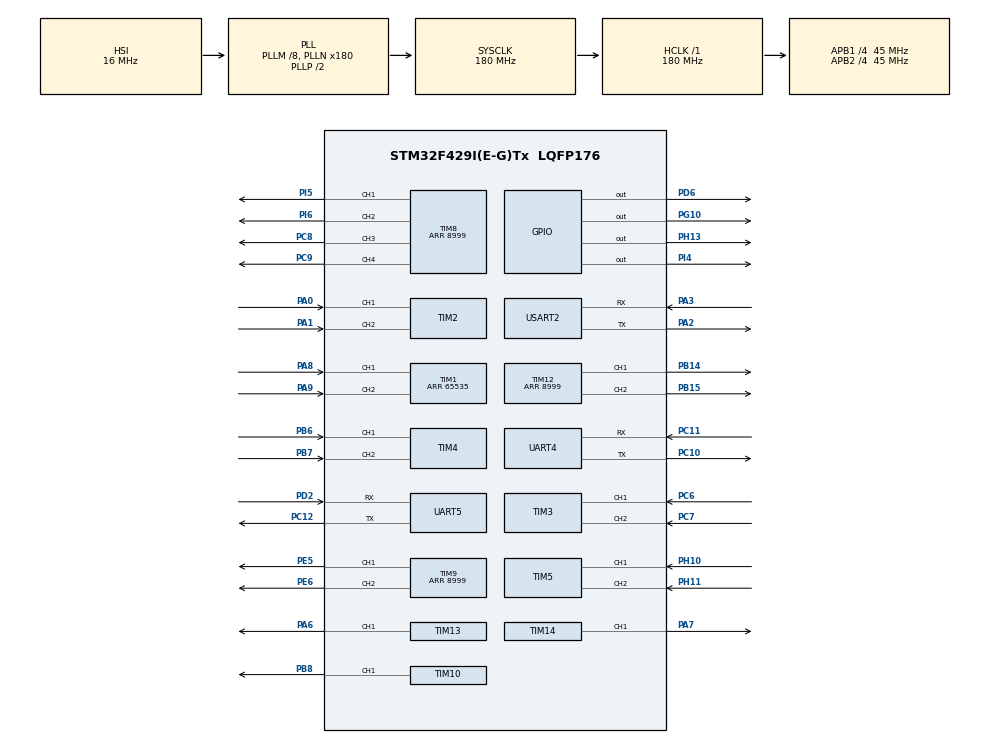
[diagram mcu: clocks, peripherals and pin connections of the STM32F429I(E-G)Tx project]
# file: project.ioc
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Mcu.Family=STM32F4
Mcu.Name=STM32F429I(E-G)Tx
Mcu.Package=LQFP176
NVIC.PriorityGroup=NVIC_PRIORITYGROUP_4
NVIC.UART4_IRQn=true\:0\:0\:false\:false\:true\:true\:true\:true
PA0/WKUP.Signal=S_TIM2_CH1_ETR
PA1.Signal=S_TIM2_CH2
PA13.Mode=Serial_Wire
PA13.Signal=SYS_JTMS-SWDIO
PA14.Mode=Serial_Wire
PA14.Signal=SYS_JTCK-SWCLK
PA2.Mode=Asynchronous
PA2.Signal=USART2_TX
PA3.Mode=Asynchronous
PA3.Signal=USART2_RX
PA6.Signal=S_TIM13_CH1
PA7.Signal=S_TIM14_CH1
PA8.Signal=S_TIM1_CH1
PA9.Signal=S_TIM1_CH2
PB14.Signal=S_TIM12_CH1
PB15.Signal=S_TIM12_CH2
PB6.Signal=S_TIM4_CH1
PB7.Signal=S_TIM4_CH2
PB8.Signal=S_TIM10_CH1
PC10.Mode=Asynchronous
PC10.Signal=UART4_TX
PC11.Mode=Asynchronous
PC11.Signal=UART4_RX
PC12.Mode=Asynchronous
PC12.Signal=UART5_TX
PC14/OSC32_IN.Mode=LSE-External-Oscillator
PC14/OSC32_IN.Signal=RCC_OSC32_IN
PC15/OSC32_OUT.Mode=LSE-External-Oscillator
PC15/OSC32_OUT.Signal=RCC_OSC32_OUT
PC6.Signal=S_TIM3_CH1
PC7.Signal=S_TIM3_CH2
PC8.Signal=S_TIM8_CH3
PC9.Signal=S_TIM8_CH4
PD2.Mode=Asynchronous
PD2.Signal=UART5_RX
PD6.GPIO_Speed=GPIO_SPEED_FREQ_VERY_HIGH
PD6.Signal=GPIO_Output
PE5.Signal=S_TIM9_CH1
PE6.Signal=S_TIM9_CH2
PG10.GPIO_Speed=GPIO_SPEED_FREQ_VERY_HIGH
PG10.PinState=GPIO_PIN_RESET
PG10.Signal=GPIO_Output
PH0/OSC_IN.Mode=HSE-External-Oscillator
PH0/OSC_IN.Signal=RCC_OSC_IN
PH1/OSC_OUT.Mode=HSE-External-Oscillator
PH1/OSC_OUT.Signal=RCC_OSC_OUT
PH10.Signal=S_TIM5_CH1
PH11.Signal=S_TIM5_CH2
PH13.GPIO_Speed=GPIO_SPEED_FREQ_VERY_HIGH
PH13.PinState=GPIO_PIN_RESET
PH13.Signal=GPIO_Output
PI4.GPIO_Speed=GPIO_SPEED_FREQ_VERY_HIGH
PI4.Signal=GPIO_Output
PI5.Signal=S_TIM8_CH1
PI6.Signal=S_TIM8_CH2
ProjectManager.HeapSize=0x200
ProjectManager.StackSize=0x400
ProjectManager.TargetToolchain=MDK-ARM V5
RCC.48MHZClocksFreq_Value=90000000
RCC.AHBFreq_Value=180000000
RCC.APB1CLKDivider=RCC_HCLK_DIV4
RCC.APB1Freq_Value=45000000
RCC.APB1TimFreq_Value=90000000
RCC.APB2CLKDivider=RCC_HCLK_DIV4
RCC.APB2Freq_Value=45000000
RCC.APB2TimFreq_Value=90000000
RCC.CortexFreq_Value=180000000
RCC.HCLKFreq_Value=180000000
RCC.HSE_VALUE=25000000
RCC.HSI_VALUE=16000000
RCC.PLLM=8
RCC.PLLN=180
RCC.SYSCLKFreq_VALUE=180000000
RCC.SYSCLKSource=RCC_SYSCLKSOURCE_PLLCLK
RCC.VCOOutputFreq_Value=360000000
SH.S_TIM10_CH1.0=TIM10_CH1,PWM Generation1 CH1
SH.S_TIM12_CH1.0=TIM12_CH1,PWM Generation1 CH1
SH.S_TIM12_CH2.0=TIM12_CH2,PWM Generation2 CH2
SH.S_TIM13_CH1.0=TIM13_CH1,PWM Generation1 CH1
SH.S_TIM14_CH1.0=TIM14_CH1,PWM Generation1 CH1
SH.S_TIM1_CH1.0=TIM1_CH1,Encoder_Interface
SH.S_TIM1_CH2.0=TIM1_CH2,Encoder_Interface
SH.S_TIM2_CH1_ETR.0=TIM2_CH1,Encoder_Interface
SH.S_TIM2_CH2.0=TIM2_CH2,Encoder_Interface
SH.S_TIM3_CH1.0=TIM3_CH1,Encoder_Interface
SH.S_TIM3_CH2.0=TIM3_CH2,Encoder_Interface
SH.S_TIM4_CH1.0=TIM4_CH1,Encoder_Interface
SH.S_TIM4_CH2.0=TIM4_CH2,Encoder_Interface
SH.S_TIM5_CH1.0=TIM5_CH1,Encoder_Interface
SH.S_TIM5_CH2.0=TIM5_CH2,Encoder_Interface
SH.S_TIM8_CH1.0=TIM8_CH1,PWM Generation1 CH1
SH.S_TIM8_CH2.0=TIM8_CH2,PWM Generation2 CH2
SH.S_TIM8_CH3.0=TIM8_CH3,PWM Generation3 CH3
SH.S_TIM8_CH4.0=TIM8_CH4,PWM Generation4 CH4
SH.S_TIM9_CH1.0=TIM9_CH1,PWM Generation1 CH1
SH.S_TIM9_CH2.0=TIM9_CH2,PWM Generation2 CH2
TIM1.Period=65535
TIM10.Channel=TIM_CHANNEL_1
TIM10.Period=19999
TIM10.Prescaler=89
TIM12.Channel-PWM\ Generation1\ CH1=TIM_CHANNEL_1
TIM12.Channel-PWM\ Generation2\ CH2=TIM_CHANNEL_2
TIM12.Period=8999
TIM13.Channel=TIM_CHANNEL_1
TIM13.Period=8999
TIM14.Channel=TIM_CHANNEL_1
TIM14.Period=8999
TIM8.Channel-PWM\ Generation1\ CH1=TIM_CHANNEL_1
TIM8.Channel-PWM\ Generation2\ CH2=TIM_CHANNEL_2
TIM8.Channel-PWM\ Generation3\ CH3=TIM_CHANNEL_3
TIM8.Channel-PWM\ Generation4\ CH4=TIM_CHANNEL_4
TIM8.Period=8999
TIM9.Channel-PWM\ Generation1\ CH1=TIM_CHANNEL_1
TIM9.Channel-PWM\ Generation2\ CH2=TIM_CHANNEL_2
TIM9.Period=8999
UART4.VirtualMode=Asynchronous
UART5.VirtualMode=Asynchronous
USART2.VirtualMode=VM_ASYNC
VP_TIM10_VS_ClockSourceINT.Mode=Enable_Timer
VP_TIM13_VS_ClockSourceINT.Mode=Enable_Timer
VP_TIM14_VS_ClockSourceINT.Mode=Enable_Timer
board=custom

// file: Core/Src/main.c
/* USER CODE BEGIN Header */
/**
  ******************************************************************************
  * @file           : main.c
  * @brief          : Main program body
  ******************************************************************************
  * @attention
  *
  * Copyright (c) 2022 STMicroelectronics.
  * All rights reserved.
  *
  * This software is licensed under terms that can be found in the LICENSE file
  * in the root directory of this software component.
  * If no LICENSE file comes with this software, it is provided AS-IS.
  *
  ******************************************************************************
  */
/* USER CODE END Header */
#include "main.h"
#include "tim.h"
#include "usart.h"
#include "gpio.h"

/* USER CODE BEGIN Includes */
#include "delay.h"
#include "motor.h"
#include "steering.h"
#include "actuator.h"
#include "steering.h"
#include "uart_get.h"
#include "linetrack.h"
#include "linetrack_lr.h"
#include "action.h"
/* USER CODE END Includes */

void SystemClock_Config(void);

int main(void)
{

  /* MCU Configuration--------------------------------------------------------*/

  /* Reset of all peripherals, Initializes the Flash interface and the Systick. */
  HAL_Init();

  /* Configure the system clock */
  SystemClock_Config();

  /* Initialize all configured peripherals */
  MX_GPIO_Init();
  MX_TIM8_Init();
  MX_TIM10_Init();
  MX_TIM1_Init();
  MX_TIM2_Init();
  MX_TIM3_Init();
  MX_TIM4_Init();
  MX_TIM5_Init();
  MX_UART4_Init();
  MX_UART5_Init();
  MX_USART2_UART_Init();
  MX_TIM9_Init();
  MX_TIM12_Init();
  MX_TIM13_Init();
  MX_TIM14_Init();
  /* USER CODE BEGIN 2 */
	delay_init(180);
	HAL_TIM_PWM_Start(&htim8,TIM_CHANNEL_1);//开启定时器的pwm
	HAL_TIM_PWM_Start(&htim8,TIM_CHANNEL_2);//开启定时器的pwm
	HAL_TIM_PWM_Start(&htim8,TIM_CHANNEL_3);//开启定时器的pwm
	HAL_TIM_PWM_Start(&htim8,TIM_CHANNEL_4);//开启定时器的pwm

	HAL_TIM_PWM_Start(&htim12,TIM_CHANNEL_1);//开启定时器的pwm
	HAL_TIM_PWM_Start(&htim12,TIM_CHANNEL_2);//开启定时器的pwm

	HAL_TIM_PWM_Start(&htim13,TIM_CHANNEL_1);//开启定时器的pwm
	HAL_TIM_PWM_Start(&htim14,TIM_CHANNEL_1);//开启定时器的pwm

	HAL_TIM_PWM_Start(&htim9,TIM_CHANNEL_1);//开启定时器的pwm
	HAL_TIM_PWM_Start(&htim9,TIM_CHANNEL_2);//开启定时器的pwm

	HAL_TIM_PWM_Start(&htim10,TIM_CHANNEL_1);//开启定时器的pwm

	HAL_TIM_Encoder_Start(&htim2, TIM_CHANNEL_ALL);
	HAL_TIM_Encoder_Start(&htim5, TIM_CHANNEL_ALL);

	HAL_TIM_Encoder_Start(&htim1, TIM_CHANNEL_ALL);
	HAL_TIM_Encoder_Start(&htim3, TIM_CHANNEL_ALL);

	HAL_UART_Receive_IT(&huart4, (uint8_t*)recv_buf,1);
//	delay_ms(8000);
  /* USER CODE END 2 */
//track_around();
delay_ms(1000);
//app_LineWalking_go_right();
delay_ms(8000);
//track_around1();
//while (1);
//turn_180();
//		leftactuator_up(8999);
//		rightactuator_up(8999);

  /* Infinite loop */
  /* USER CODE BEGIN WHILE */
//right_left_cy=120;
//go_left_to_cross_start();
//Car_stop();

//LineWalking_go_cross_stop();
//Car_go_right45(7000);
//delay_ms(1000);
//right_left_cy=120;
//go_right_to_cross_start();
//LineWalking_go_cross_stop();
//turn_180();
get_milk_in();
  while (1)
  {
//		HAL_UART_Transmit(&huart4, (uint8_t*)"z", 1, 0xFFFF);

//		leftactuator_down(8999);
//		rightactuator_down(8999);
    /* USER CODE END WHILE */

  }
}

void SystemClock_Config(void)
{
  RCC_OscInitTypeDef RCC_OscInitStruct = {0};
  RCC_ClkInitTypeDef RCC_ClkInitStruct = {0};

  /** Configure the main internal regulator output voltage
  */
  __HAL_RCC_PWR_CLK_ENABLE();
  __HAL_PWR_VOLTAGESCALING_CONFIG(PWR_REGULATOR_VOLTAGE_SCALE1);

  /** Initializes the RCC Oscillators according to the specified parameters
  * in the RCC_OscInitTypeDef structure.
  */
  RCC_OscInitStruct.OscillatorType = RCC_OSCILLATORTYPE_HSI;
  RCC_OscInitStruct.HSIState = RCC_HSI_ON;
  RCC_OscInitStruct.HSICalibrationValue = RCC_HSICALIBRATION_DEFAULT;
  RCC_OscInitStruct.PLL.PLLState = RCC_PLL_ON;
  RCC_OscInitStruct.PLL.PLLSource = RCC_PLLSOURCE_HSI;
  RCC_OscInitStruct.PLL.PLLM = 8;
  RCC_OscInitStruct.PLL.PLLN = 180;
  RCC_OscInitStruct.PLL.PLLP = RCC_PLLP_DIV2;
  RCC_OscInitStruct.PLL.PLLQ = 4;
  if (HAL_RCC_OscConfig(&RCC_OscInitStruct) != HAL_OK)
  {
    Error_Handler();
  }

  /** Activate the Over-Drive mode
  */
  if (HAL_PWREx_EnableOverDrive() != HAL_OK)
  {
    Error_Handler();
  }

  /** Initializes the CPU, AHB and APB buses clocks
  */
  RCC_ClkInitStruct.ClockType = RCC_CLOCKTYPE_HCLK|RCC_CLOCKTYPE_SYSCLK
                              |RCC_CLOCKTYPE_PCLK1|RCC_CLOCKTYPE_PCLK2;
  RCC_ClkInitStruct.SYSCLKSource = RCC_SYSCLKSOURCE_PLLCLK;
  RCC_ClkInitStruct.AHBCLKDivider = RCC_SYSCLK_DIV1;
  RCC_ClkInitStruct.APB1CLKDivider = RCC_HCLK_DIV4;
  RCC_ClkInitStruct.APB2CLKDivider = RCC_HCLK_DIV4;

  if (HAL_RCC_ClockConfig(&RCC_ClkInitStruct, FLASH_LATENCY_5) != HAL_OK)
  {
    Error_Handler();
  }
}

void Error_Handler(void)
{
  __disable_irq();
  while (1)
  {
  }
}
